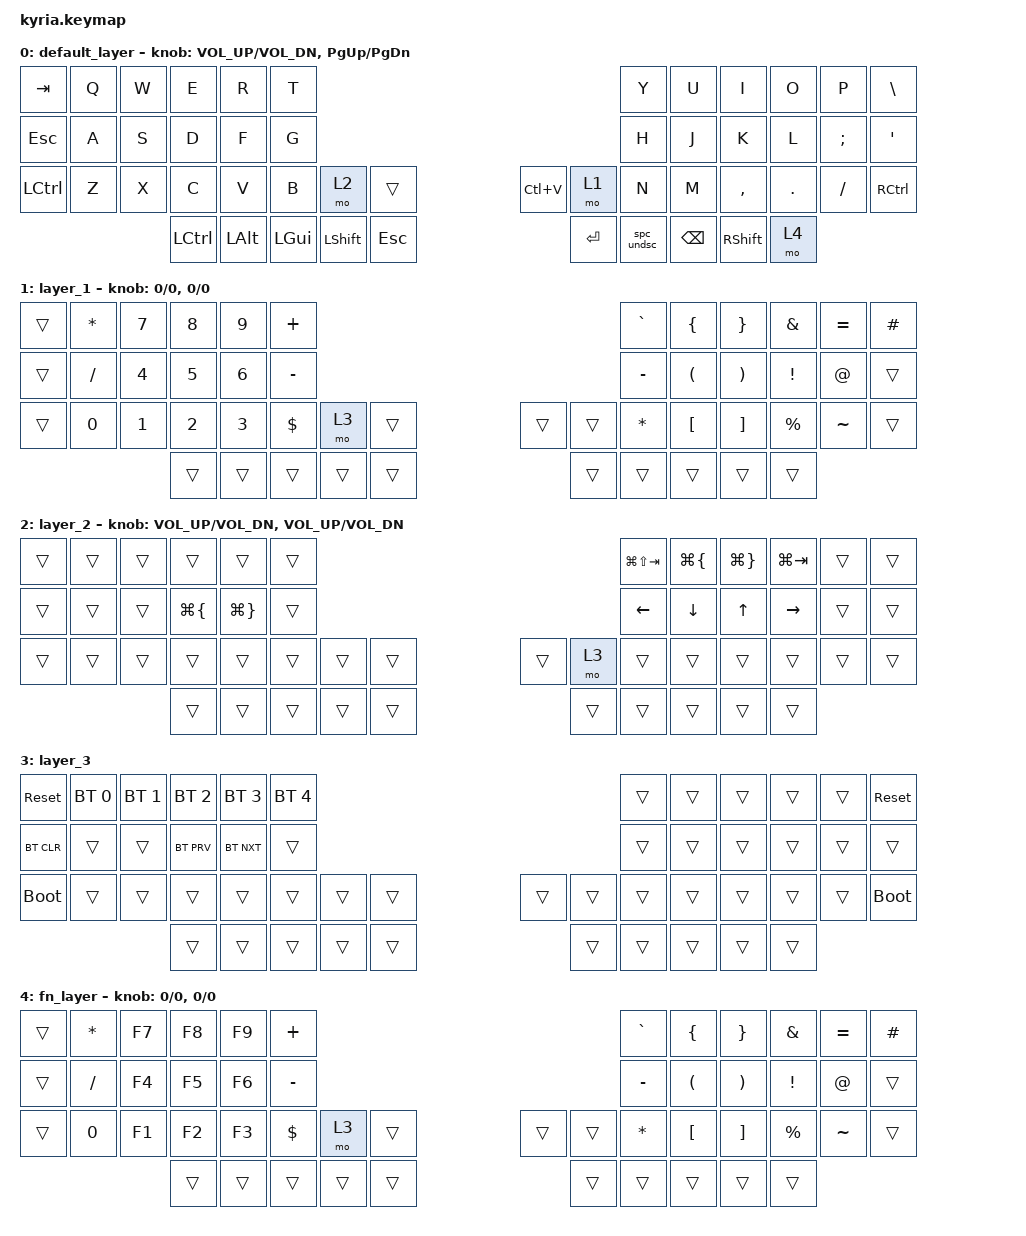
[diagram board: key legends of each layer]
/*
 * Copyright (c) 2023 The ZMK Contributors
 *
 * SPDX-License-Identifier: MIT
 */

#include <behaviors.dtsi>
#include <dt-bindings/zmk/keys.h>
#include <dt-bindings/zmk/bt.h>


/ {
    behaviors {
        spc_undsc: spc_undsc {
            compatible = "zmk,behavior-mod-morph";
            label = "SPACE_UNDERSCORE";
            #binding-cells = <0>;
            bindings = <&kp SPACE>, <&kp UNDER>;
            mods = <(MOD_LSFT)>;
            keep-mods = <(MOD_LSFT)>;
        };
    };


    keymap {
        compatible = "zmk,keymap";

        default_layer {
// ----------------------------------------------------------------------------------                ----------------------------------------------------------------------------------
// |   ESC   |    Q    |    W    |    E    |    R    |    T    |                                                          |    Y    |    U    |    I    |    O    |    P    |    \    |
// |   TAB   |    A    |    S    |    D    |    F    |    G    |                                                          |    H    |    J    |    K    |    L    |    ;    |    '    |
// |  SHIFT  |    Z    |    X    |    C    |    V    |    B    | CTRL+A  | CTRL+C  |                  |  CTRL+V |  CTRL+X |    N    |    M    |    ,    |    .    |    /    |  R CTRL |
//                               |   GUI   |   DEL   | RETURN  |  SPACE  | ESCAPE  |                  |  RETURN |  SPACE  |   TAB   |   BSPC  |  R ALT  |

            bindings = <
&kp TAB     &kp Q  &kp W  &kp E      &kp R     &kp T                                                                            &kp Y    &kp U     &kp I      &kp O    &kp P     &kp BSLH
&kp ESC     &kp A  &kp S  &kp D      &kp F     &kp G                                                                            &kp H    &kp J     &kp K      &kp L    &kp SEMI  &kp SQT
&kp LCTRL   &kp Z  &kp X  &kp C      &kp V     &kp B     &mo 2           &trans                           &kp LC(V)  &mo 1      &kp N    &kp M     &kp COMMA  &kp DOT  &kp FSLH  &kp RCTRL
                          &kp LCTRL  &kp LALT  &kp LGUI  &kp LEFT_SHIFT  &kp ESC                          &kp RET    &spc_undsc  &kp BSPC &kp RIGHT_SHIFT &mo 4
            >;

            sensor-bindings = <&inc_dec_kp C_VOL_UP C_VOL_DN &inc_dec_kp PG_UP PG_DN>;
        };

        layer_1 {
            bindings = <
&trans  &kp ASTERISK  &kp NUMBER_7  &kp NUMBER_8  &kp NUMBER_9  &kp PLUS                                                   &kp GRAVE     &kp LEFT_BRACE        &kp RIGHT_BRACE        &kp AMPERSAND    &kp EQUAL  &kp HASH
&trans  &kp SLASH     &kp NUMBER_4  &kp NUMBER_5  &kp NUMBER_6  &kp MINUS                                                  &kp MINUS     &kp LEFT_PARENTHESIS  &kp RIGHT_PARENTHESIS  &kp EXCLAMATION  &kp AT     &trans
&trans  &kp NUMBER_0  &kp NUMBER_1  &kp NUMBER_2  &kp NUMBER_3  &kp DOLLAR &mo 3   &trans                  &trans  &trans  &kp ASTERISK  &kp LEFT_BRACKET      &kp RIGHT_BRACKET      &kp PERCENT      &kp TILDE  &trans
                                    &trans        &trans        &trans     &trans  &trans                  &trans  &trans  &trans        &trans                &trans
            >;

            sensor-bindings =
                <&inc_dec_kp 0 0>,
                <&inc_dec_kp 0 0>;
        };
        layer_2 {
            bindings = <
&trans  &trans  &trans  &trans  &trans  &trans                                                                        &kp LG(LS(TAB))  &kp LG(LEFT_BRACE)  &kp LG(RIGHT_BRACE)  &kp LG(TAB)  &trans  &trans
&trans  &trans  &trans  &kp LG(LEFT_BRACE)  &kp LG(RIGHT_BRACE)  &trans                                               &kp LEFT_ARROW  &kp DOWN_ARROW  &kp UP_ARROW  &kp RIGHT_ARROW  &trans  &trans
&trans  &trans  &trans  &trans  &trans  &trans  &trans  &trans                                            &trans  &mo 3   &trans  &trans  &trans  &trans  &trans  &trans
                        &trans  &trans  &trans  &trans  &trans                                            &trans  &trans  &trans  &trans  &trans
            >;

            sensor-bindings = <&inc_dec_kp C_VOL_UP C_VOL_DN &inc_dec_kp C_VOL_UP C_VOL_DN>;
        };

        layer_3 {
            bindings = <
&sys_reset  &bt BT_SEL 0    &bt BT_SEL 1  &bt BT_SEL 2   &bt BT_SEL 3     &bt BT_SEL 4                                                          &trans  &trans  &trans  &trans  &trans  &sys_reset
&bt BT_CLR  &trans          &trans        &bt BT_PRV     &bt BT_NXT       &trans                                                                &trans  &trans  &trans  &trans  &trans  &trans
&bootloader  &trans     &trans        &trans         &trans           &trans  &trans  &trans                                   &trans  &trans   &trans  &trans  &trans  &trans  &trans  &bootloader
                                      &trans         &trans           &trans  &trans  &trans                                   &trans  &trans   &trans  &trans  &trans
            >;
        };

        fn_layer {
            bindings = <
&trans  &kp ASTERISK  &kp F7  &kp F8  &kp F9  &kp PLUS                                                   &kp GRAVE     &kp LEFT_BRACE        &kp RIGHT_BRACE        &kp AMPERSAND    &kp EQUAL  &kp HASH
&trans  &kp SLASH     &kp F4  &kp F5  &kp F6  &kp MINUS                                                  &kp MINUS     &kp LEFT_PARENTHESIS  &kp RIGHT_PARENTHESIS  &kp EXCLAMATION  &kp AT     &trans
&trans  &kp NUMBER_0  &kp F1  &kp F2  &kp F3  &kp DOLLAR &mo 3   &trans                  &trans  &trans  &kp ASTERISK  &kp LEFT_BRACKET      &kp RIGHT_BRACKET      &kp PERCENT      &kp TILDE  &trans
                                    &trans        &trans        &trans     &trans  &trans                  &trans  &trans  &trans        &trans                &trans
            >;

            sensor-bindings =
                <&inc_dec_kp 0 0>,
                <&inc_dec_kp 0 0>;
        };
    };
};
